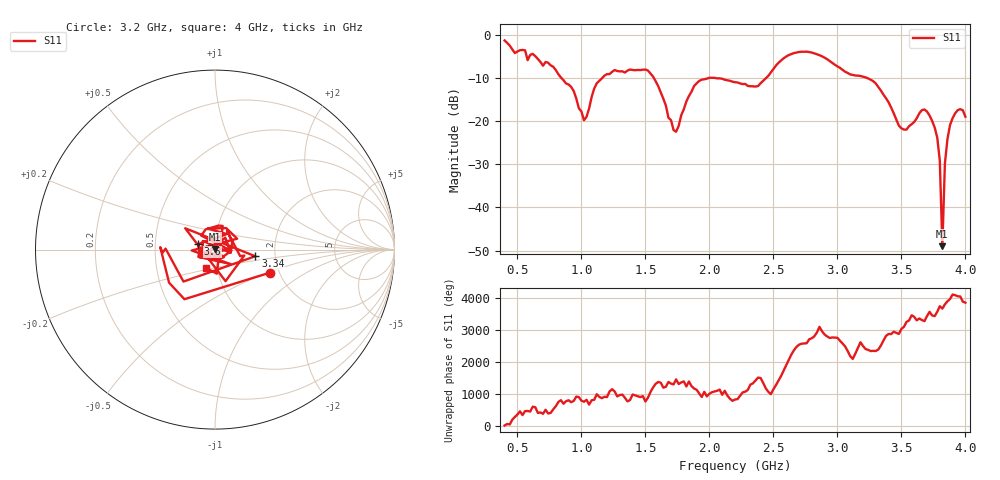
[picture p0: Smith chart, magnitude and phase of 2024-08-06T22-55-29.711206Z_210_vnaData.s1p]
!Created with skrf (http://scikit-rf.org).
# Hz S RI R 50.0
!freq ReS11 ImS11
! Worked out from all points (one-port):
!   181 points, 400 MHz to 4 GHz, reference 50 ohm
!   lowest |S11| = -49.0 dB at 3.82 GHz (marker M1), VSWR 1.01, Z = 50.2 + j0.299 ohm
!   |S11| at or under -10 dB: 1.568 GHz to 1.986 GHz (418.6 MHz wide, 23.6 % of centre); 2.059 GHz to 2.44 GHz (381.3 MHz wide, 16.9 % of centre); 3.238 GHz to end of sweep (the widest 3 of 4)
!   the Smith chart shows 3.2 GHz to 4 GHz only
!   S11 on the Smith chart (normalised r, x): 3.2 GHz: 1.78, -0.52; 3.34 GHz: 1.57, -0.12; 3.6 GHz: 0.83, +0.05; 4 GHz: 0.88, -0.18
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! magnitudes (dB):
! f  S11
! 400 MHz  -1.2
! 860 MHz  -10.4
! 940 MHz  -12.9
! 1.02 GHz  -19.7
! 1.12 GHz  -11.1
! 1.3 GHz  -8.4
! 1.52 GHz  -8.2
! 1.6 GHz  -11.8
! 1.72 GHz  -22.0
! 1.76 GHz  -21.0
! 1.92 GHz  -10.6
! 2.2 GHz  -10.9
! 2.38 GHz  -11.8
! 2.66 GHz  -4.1
! 3.1 GHz  -9.1
! 3.2 GHz  -9.6
! 3.34 GHz  -12.9
! 3.48 GHz  -21.0
! 3.56 GHz  -21.1
! 3.6 GHz  -20.1
! 3.68 GHz  -17.2
! 3.78 GHz  -23.7
! 3.8 GHz  -29.1
! 3.82 GHz  -49.0
! 3.84 GHz  -29.8
! 3.86 GHz  -24.1
! 3.94 GHz  -17.4
! 4 GHz  -18.9
